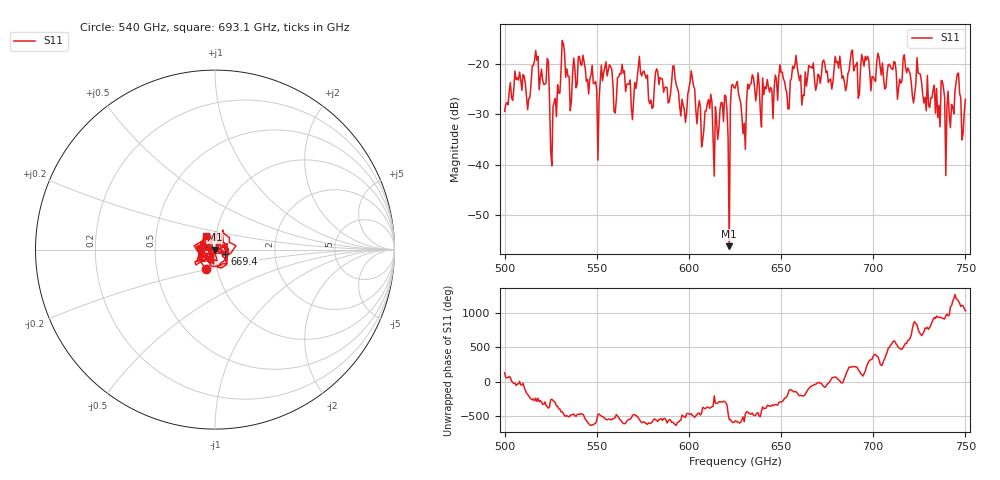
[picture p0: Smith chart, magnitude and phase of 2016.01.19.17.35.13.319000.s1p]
!Created with skrf (http://scikit-rf.org).
# GHz S RI R 50.0
!freq ReS11 ImS11
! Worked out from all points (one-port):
!   401 points, 500 GHz to 750 GHz, reference 50 ohm
!   lowest |S11| = -56.1 dB at 621.9 GHz (marker M1), VSWR 1.00, Z = 49.8 + j0.0374 ohm
!   |S11| at or under -10 dB: start of sweep to end of sweep
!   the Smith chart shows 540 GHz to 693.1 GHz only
!   S11 on the Smith chart (normalised r, x): 540 GHz: 0.88, -0.19; 669.4 GHz: 1.12, -0.05; 693.1 GHz: 0.90, +0.14
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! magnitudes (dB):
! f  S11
! 500 GHz  -29.4
! 506.9 GHz  -22.8
! 513.1 GHz  -26.9
! 516.9 GHz  -17.4
! 523.1 GHz  -19.0
! 526.2 GHz  -28.6
! 531.2 GHz  -15.4
! 540 GHz  -18.6
! 550 GHz  -25.2
! 562.5 GHz  -22.0
! 593.8 GHz  -24.9
! 601.9 GHz  -23.0
! 608.1 GHz  -32.9
! 611.2 GHz  -28.9
! 614.4 GHz  -28.5
! 618.8 GHz  -31.5
! 621.9 GHz  -56.1
! 625 GHz  -24.9
! 630 GHz  -31.8
! 633.8 GHz  -23.9
! 656.2 GHz  -20.5
! 669.4 GHz  -24.4
! 687.5 GHz  -19.5
! 693.1 GHz  -20.9
! 718.8 GHz  -20.8
! 740.6 GHz  -25.4
! 745.6 GHz  -22.1
! 750 GHz  -27.1
